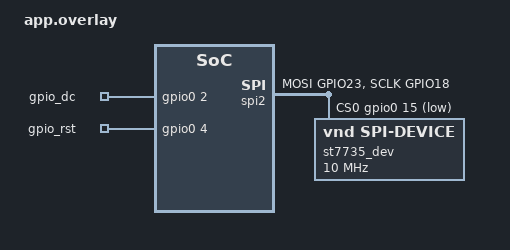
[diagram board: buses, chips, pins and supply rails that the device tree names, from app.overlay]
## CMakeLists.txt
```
cmake_minimum_required(VERSION 3.20.0)

find_package(Zephyr REQUIRED HINTS $ENV{ZEPHYR_BASE})
project(digital_input)

target_sources(app PRIVATE 
               subsys/ui_engine/include
               src/main.c
               subsys/ui_engine/src/ui_engine.c
               subsys/ui_engine/src/ui_layout.c)
```

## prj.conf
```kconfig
CONFIG_SPI=y
CONFIG_GPIO=y
CONFIG_MAIN_STACK_SIZE=4096
```

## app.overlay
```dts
#include <zephyr/dt-bindings/gpio/gpio.h>

/ {
	aliases {
		lcd-dc = &gpio_dc;
		lcd-rst = &gpio_rst;
	};

	gpios {
		compatible = "gpio-keys";
		gpio_dc: gpio_dc {
			gpios = <&gpio0 2 GPIO_ACTIVE_HIGH>;
		};
		gpio_rst: gpio_rst {
			gpios = <&gpio0 4 GPIO_ACTIVE_HIGH>;
		};
	};
};

&spi2 {
	status = "okay";
	pinctrl-0 = <&spim2_default>;
	pinctrl-names = "default";
	cs-gpios = <&gpio0 15 GPIO_ACTIVE_LOW>;

	/* Nó genérico para falar diretamente via SPI */
	st7735_dev: st7735@0 {
		compatible = "vnd,spi-device";
		reg = <0>;
		spi-max-frequency = <10000000>;
	};
};

&pinctrl {
	spim2_default: spim2_default {
		group1 {
			pinmux = <SPIM2_MOSI_GPIO23>,
			         <SPIM2_SCLK_GPIO18>;
		};
	};
};
```

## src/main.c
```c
#include <zephyr/kernel.h>
#include <zephyr/device.h>
#include <zephyr/drivers/spi.h>
#include <zephyr/drivers/gpio.h>
#include <zephyr/logging/log.h>

#include "../subsys/ui_engine/include/lcd.h"
#include "../subsys/ui_engine/include/ui_engine.h"
#include "../subsys/ui_engine/include/ui_layout.h"

LOG_MODULE_REGISTER(ST7735_LAYOUT_APP, LOG_LEVEL_INF);

#define LCD_WIDTH     128
#define LCD_HEIGHT    160

// Comandos do ST7735
#define ST7735_SWRESET 0x01
#define ST7735_SLPOUT  0x11
#define ST7735_NORON   0x13
#define ST7735_DISPON  0x29
#define ST7735_CASET   0x2A
#define ST7735_RASET   0x2B
#define ST7735_RAMWR   0x2C
#define ST7735_MADCTL  0x36
#define ST7735_COLMOD  0x3A

// Cores RGB
#define COLOR_BLACK     0x0000
#define COLOR_WHITE     0xFFFF
#define COLOR_YELLOW    0x00F8
#define COLOR_RED       0x0007
#define COLOR_GREEN     0x1F00
#define COLOR_BLUE      0xE000

/* Dispositivos do Zephyr (corrigido warning de descontinuação do parâmetro delay) */
static const struct spi_dt_spec spi_spec = SPI_DT_SPEC_GET(DT_NODELABEL(st7735_dev), SPI_WORD_SET(8) | SPI_TRANSFER_MSB);
static const struct gpio_dt_spec dc_gpio = GPIO_DT_SPEC_GET(DT_ALIAS(lcd_dc), gpios);
static const struct gpio_dt_spec rst_gpio = GPIO_DT_SPEC_GET(DT_ALIAS(lcd_rst), gpios);

// Fonte Bitmap 5x7
static const uint8_t font5x7[] = {
    0x00, 0x00, 0x00, 0x00, 0x00, 0x00, 0x00, 0x5f, 0x00, 0x00, 0x00, 0x07, 0x00, 0x07, 0x00,
    0x14, 0x7f, 0x14, 0x7f, 0x14, 0x24, 0x2a, 0x7f, 0x2a, 0x12, 0x23, 0x13, 0x08, 0x64, 0x62,
    0x36, 0x49, 0x55, 0x22, 0x50, 0x00, 0x05, 0x03, 0x00, 0x00, 0x00, 0x1c, 0x22, 0x41, 0x00,
    0x00, 0x41, 0x22, 0x1c, 0x00, 0x14, 0x08, 0x3e, 0x08, 0x14, 0x08, 0x08, 0x3e, 0x08, 0x08,
    0x00, 0x50, 0x30, 0x00, 0x00, 0x08, 0x08, 0x08, 0x08, 0x08, 0x00, 0x60, 0x60, 0x00, 0x00,
    0x20, 0x10, 0x08, 0x04, 0x02, 0x3e, 0x51, 0x49, 0x45, 0x3e, 0x00, 0x42, 0x7f, 0x40, 0x00,
    0x42, 0x61, 0x51, 0x49, 0x46, 0x21, 0x41, 0x45, 0x4b, 0x31, 0x18, 0x14, 0x12, 0x7f, 0x10,
    0x27, 0x45, 0x45, 0x45, 0x39, 0x3c, 0x4a, 0x49, 0x49, 0x30, 0x01, 0x71, 0x09, 0x05, 0x03,
    0x36, 0x49, 0x49, 0x49, 0x36, 0x06, 0x49, 0x49, 0x29, 0x1e, 0x00, 0x36, 0x36, 0x00, 0x00,
    0x00, 0x56, 0x36, 0x00, 0x00, 0x08, 0x14, 0x22, 0x41, 0x00, 0x14, 0x14, 0x14, 0x14, 0x14,
    0x00, 0x41, 0x22, 0x14, 0x08, 0x02, 0x01, 0x51, 0x09, 0x06, 0x32, 0x49, 0x79, 0x41, 0x3e,
    0x7e, 0x11, 0x11, 0x11, 0x7e, 0x7f, 0x49, 0x49, 0x49, 0x36, 0x3e, 0x41, 0x41, 0x41, 0x22,
    0x7f, 0x41, 0x41, 0x22, 0x1c, 0x7f, 0x49, 0x49, 0x49, 0x41, 0x7f, 0x09, 0x09, 0x09, 0x01,
    0x3e, 0x41, 0x49, 0x49, 0x7a, 0x7f, 0x08, 0x08, 0x08, 0x7f, 0x00, 0x41, 0x7f, 0x41, 0x00,
    0x20, 0x40, 0x41, 0x3f, 0x01, 0x7f, 0x08, 0x14, 0x22, 0x41, 0x7f, 0x40, 0x40, 0x40, 0x40,
    0x7f, 0x02, 0x0c, 0x02, 0x7f, 0x7f, 0x04, 0x08, 0x10, 0x7f, 0x3e, 0x41, 0x41, 0x41, 0x3e,
    0x7f, 0x09, 0x09, 0x09, 0x06, 0x3e, 0x41, 0x51, 0x21, 0x5e, 0x7f, 0x09, 0x19, 0x29, 0x46,
    0x26, 0x49, 0x49, 0x49, 0x32, 0x01, 0x01, 0x7f, 0x01, 0x01, 0x3f, 0x40, 0x40, 0x40, 0x3f,
    0x1f, 0x20, 0x40, 0x20, 0x1f, 0x3f, 0x40, 0x38, 0x40, 0x3f, 0x63, 0x14, 0x08, 0x14, 0x63,
    0x07, 0x08, 0x70, 0x08, 0x07, 0x61, 0x51, 0x49, 0x45, 0x43, 0x00, 0x7f, 0x41, 0x41, 0x00,
    0x02, 0x04, 0x08, 0x10, 0x20, 0x00, 0x41, 0x41, 0x7f, 0x00, 0x04, 0x02, 0x01, 0x02, 0x04,
    0x40, 0x40, 0x40, 0x40, 0x40, 0x00, 0x01, 0x02, 0x04, 0x00, 0x20, 0x54, 0x54, 0x54, 0x78,
    0x7f, 0x48, 0x44, 0x44, 0x38, 0x38, 0x44, 0x44, 0x44, 0x20, 0x38, 0x44, 0x44, 0x48, 0x7f,
    0x38, 0x54, 0x54, 0x54, 0x18, 0x08, 0x7e, 0x09, 0x01, 0x02, 0x0c, 0x52, 0x52, 0x52, 0x3e,
    0x7f, 0x08, 0x04, 0x04, 0x78, 0x00, 0x44, 0x7d, 0x40, 0x00, 0x20, 0x40, 0x44, 0x3d, 0x00,
    0x7f, 0x10, 0x28, 0x44, 0x00, 0x00, 0x41, 0x7f, 0x40, 0x00, 0x7c, 0x04, 0x18, 0x04, 0x78,
    0x7c, 0x08, 0x04, 0x04, 0x78, 0x38, 0x44, 0x44, 0x44, 0x38, 0x7c, 0x14, 0x14, 0x14, 0x08,
    0x08, 0x14, 0x14, 0x18, 0x7c, 0x7c, 0x08, 0x04, 0x04, 0x08, 0x48, 0x54, 0x54, 0x54, 0x20,
    0x04, 0x3e, 0x44, 0x24, 0x08, 0x3c, 0x40, 0x40, 0x20, 0x7c, 0x1c, 0x20, 0x40, 0x20, 0x1c,
    0x3c, 0x40, 0x30, 0x40, 0x3c, 0x44, 0x28, 0x10, 0x28, 0x44, 0x0c, 0x50, 0x50, 0x50, 0x3c,
    0x44, 0x64, 0x54, 0x4c, 0x44
};

static void lcd_cmd(uint8_t cmd) {
    gpio_pin_set_dt(&dc_gpio, 0);
    struct spi_buf buf = {.buf = &cmd, .len = 1};
    struct spi_buf_set tx = {.buffers = &buf, .count = 1};
    spi_write_dt(&spi_spec, &tx);
}

static void lcd_data(const uint8_t *data, size_t len) {
    if (len == 0) return;
    gpio_pin_set_dt(&dc_gpio, 1);
    struct spi_buf buf = {.buf = (void *)data, .len = len};
    struct spi_buf_set tx = {.buffers = &buf, .count = 1};
    spi_write_dt(&spi_spec, &tx);
}

static void st7735_init_blacktab(void) {
    gpio_pin_set_dt(&rst_gpio, 1);
    k_msleep(10);
    gpio_pin_set_dt(&rst_gpio, 0);
    k_msleep(10);
    gpio_pin_set_dt(&rst_gpio, 1);
    k_msleep(150);

    lcd_cmd(ST7735_SWRESET);
    k_msleep(150);

    lcd_cmd(ST7735_SLPOUT);
    k_msleep(500);

    lcd_cmd(ST7735_COLMOD);
    uint8_t format = 0x05;
    lcd_data(&format, 1);
    k_msleep(10);

    lcd_cmd(ST7735_MADCTL);
    uint8_t madctl = 0xC8;
    lcd_data(&madctl, 1);

    lcd_cmd(ST7735_NORON);
    k_msleep(10);

    lcd_cmd(ST7735_DISPON);
    k_msleep(100);
}


int main(void) {
    LOG_INF("Iniciando Aplicação de Layout...");

    if (ui_engine_init() != 0) {
        LOG_ERR("Erro ao inicializar UI Engine!");
        return 0;
    }

    // Instancia o layout de 3 regiões
    ui_layout_t main_layout;
    ui_layout_init_standard(&main_layout);

    // 1. PRIMEIRO: Preenche o fundo de todas as áreas
    lcd_fill_rect(main_layout.header.x, main_layout.header.y, 
                  main_layout.header.width, main_layout.header.height, COLOR_YELLOW);

    lcd_fill_rect(main_layout.content.x, main_layout.content.y, 
                  main_layout.content.width, main_layout.content.height, COLOR_BLACK);

    lcd_fill_rect(main_layout.footer.x, main_layout.footer.y, 
                  main_layout.footer.width, main_layout.footer.height, COLOR_GREEN);

    // 2. SEGUNDO: Desenha os textos sobre os fundos
    ui_draw_header(&main_layout, "SYSTEM PANEL", COLOR_WHITE, COLOR_BLUE);
    
    lcd_draw_string(10, 70, "Content Area", COLOR_WHITE, COLOR_BLACK, 1);
    lcd_draw_string(10, 85, "128x120 Pixels", COLOR_GREEN, COLOR_BLACK, 1);

    ui_draw_footer(&main_layout, "STATUS: READY", COLOR_YELLOW, COLOR_GREEN);

    LOG_INF("Layout renderizado!");

    while (1) {
        k_msleep(1000);
    }

    return 0;
}
```
